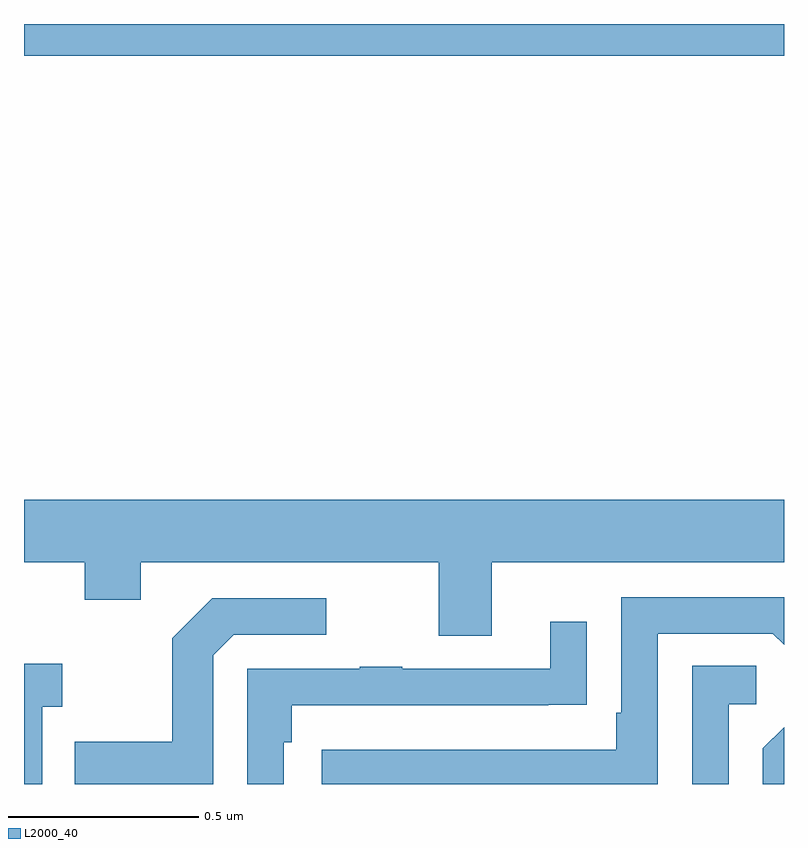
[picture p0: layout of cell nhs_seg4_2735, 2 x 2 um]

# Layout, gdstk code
import gdstk
lib = gdstk.Library(unit=1e-6, precision=1e-09)
def R(c, l, rs):  # rectangles x0, y0, x1, y1
    for r in rs: c.add(gdstk.rectangle(r[:2], r[2:], *l))
def P(c, l, *ps):  # polygons
    for p in ps: c.add(gdstk.Polygon(p, *l))
L2000_40 = (2000, 40)

nhs_seg4_2735 = lib.new_cell('nhs_seg4_2735')
R(nhs_seg4_2735, L2000_40, [(144,800.816,146,800.9)])
P(nhs_seg4_2735, L2000_40, [(145.231,799.484),(146,799.484),(146,799.648),(144,799.648),(144,799.484),(144.16,799.484),(144.16,799.385),(144.307,799.385),(144.307,799.484),(145.091,799.484),(145.091,799.29),(145.231,799.29)],
  [(145.668,799.296),(145.971,799.296),(146,799.267),(146,799.392),(145.572,799.392),(145.572,799.087),(145.559,799.087),(145.559,798.99),(144.783,798.99),(144.783,798.9),(145.668,798.9)],
  [(144.498,799.239),(144.552,799.293),(144.796,799.293),(144.796,799.389),(144.495,799.389),(144.39,799.283),(144.39,799.011),(144.133,799.011),(144.133,798.9),(144.498,798.9)],
  [(144.684,799.01),(144.704,799.01),(144.704,799.107),(145.379,799.107),(145.379,799.108),(145.481,799.108),(145.481,799.327),(145.385,799.327),(145.385,799.203),(144.995,799.203),(144.995,799.208),(144.883,799.208),(144.883,799.203),(144.588,799.203),(144.588,798.9),(144.684,798.9)],
  [(144.048,799.103),(144.1,799.103),(144.1,799.216),(144,799.216),(144,798.9),(144.048,798.9)],
  [(145.854,799.11),(145.927,799.11),(145.927,799.211),(145.758,799.211),(145.758,798.9),(145.854,798.9)],
  [(146,799.05),(145.944,798.994),(145.944,798.9),(146,798.9)])

lib.write_gds('nhs_seg4_2735.gds')
